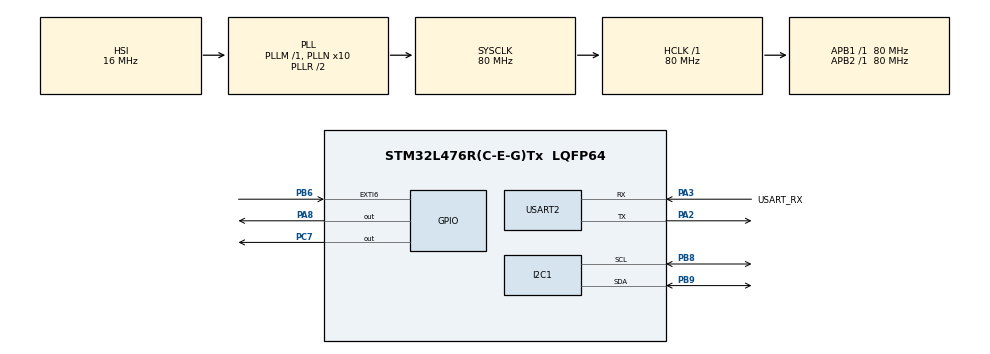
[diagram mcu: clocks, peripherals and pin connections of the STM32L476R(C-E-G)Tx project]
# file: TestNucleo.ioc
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I2C1.Timing=0x10D19CE4
Mcu.Family=STM32L4
Mcu.Name=STM32L476R(C-E-G)Tx
Mcu.Package=LQFP64
NVIC.EXTI9_5_IRQn=true\:0\:0\:false\:false\:true\:true\:true\:true
NVIC.PriorityGroup=NVIC_PRIORITYGROUP_4
PA13\ (JTMS-SWDIO).GPIO_Label=TMS
PA13\ (JTMS-SWDIO).Signal=SYS_JTMS-SWDIO
PA14\ (JTCK-SWCLK).GPIO_Label=TCK
PA14\ (JTCK-SWCLK).Signal=SYS_JTCK-SWCLK
PA2.Mode=Asynchronous
PA2.Signal=USART2_TX
PA3.GPIO_Label=USART_RX
PA3.GPIO_Mode=GPIO_MODE_AF_PP
PA3.GPIO_PuPd=GPIO_NOPULL
PA3.GPIO_Speed=GPIO_SPEED_FREQ_VERY_HIGH
PA3.Mode=Asynchronous
PA3.Signal=USART2_RX
PA8.Signal=GPIO_Output
PB3\ (JTDO-TRACESWO).GPIO_Label=SWO
PB3\ (JTDO-TRACESWO).Signal=SYS_JTDO-SWO
PB6.GPIO_ModeDefaultEXTI=GPIO_MODE_IT_RISING_FALLING
PB6.GPIO_PuPd=GPIO_PULLDOWN
PB6.Signal=GPXTI6
PB8.GPIO_Pu=GPIO_PULLUP
PB8.Mode=I2C
PB8.Signal=I2C1_SCL
PB9.GPIO_Pu=GPIO_PULLUP
PB9.Mode=I2C
PB9.Signal=I2C1_SDA
PC14-OSC32_IN\ (PC14).Signal=RCC_OSC32_IN
PC15-OSC32_OUT\ (PC15).Signal=RCC_OSC32_OUT
PC7.Signal=GPIO_Output
PH0-OSC_IN\ (PH0).Signal=RCC_OSC_IN
PH1-OSC_OUT\ (PH1).Signal=RCC_OSC_OUT
ProjectManager.HeapSize=0x200
ProjectManager.StackSize=0x400
ProjectManager.TargetToolchain=CMake
RCC.ADCFreq_Value=64000000
RCC.AHBFreq_Value=80000000
RCC.APB1Freq_Value=80000000
RCC.APB1TimFreq_Value=80000000
RCC.APB2Freq_Value=80000000
RCC.APB2TimFreq_Value=80000000
RCC.CortexFreq_Value=80000000
RCC.HCLKFreq_Value=80000000
RCC.HSE_VALUE=8000000
RCC.HSI_VALUE=16000000
RCC.LSE_VALUE=32768
RCC.MSI_VALUE=4000000
RCC.PLLN=10
RCC.PLLSourceVirtual=RCC_PLLSOURCE_HSI
RCC.PREFETCH_ENABLE=1
RCC.SYSCLKFreq_VALUE=80000000
RCC.SYSCLKSource=RCC_SYSCLKSOURCE_PLLCLK
RCC.USBFreq_Value=64000000
RCC.VCOOutputFreq_Value=160000000
USART2.VirtualMode-Asynchronous=VM_ASYNC
board=NUCLEO-L476RG

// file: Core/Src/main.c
/* USER CODE BEGIN Header */
/**
 ******************************************************************************
 * @file           : main.c
 * @brief          : Main program body
 ******************************************************************************
 * @attention
 *
 * Copyright (c) 2026 STMicroelectronics.
 * All rights reserved.
 *
 * This software is licensed under terms that can be found in the LICENSE file
 * in the root directory of this software component.
 * If no LICENSE file comes with this software, it is provided AS-IS.
 *
 ******************************************************************************
 */
/* USER CODE END Header */
#include "main.h"

/* USER CODE BEGIN Includes */
#include <stdio.h>
#include <string.h>
/* USER CODE END Includes */

I2C_HandleTypeDef hi2c1;

UART_HandleTypeDef huart2;

/* USER CODE BEGIN PV */
volatile GPIO_PinState state;
static const uint8_t BME280_ADDR = 0x76 << 1; // I2C address of BME280
static const uint8_t REG_TEMP = 0xFA;         // Register to temperatuer address

/* USER CODE END PV */

void SystemClock_Config(void);
static void MX_GPIO_Init(void);
static void MX_I2C1_Init(void);
static void MX_USART2_UART_Init(void);

int main(void)
{

  /* USER CODE BEGIN 1 */
  HAL_StatusTypeDef ret;
  int32_t val;
  float temp_c;

  uint8_t buf[20];

  /* USER CODE END 1 */

  /* MCU Configuration--------------------------------------------------------*/

  /* Reset of all peripherals, Initializes the Flash interface and the Systick. */
  HAL_Init();

  /* Configure the system clock */
  SystemClock_Config();

  /* Initialize all configured peripherals */
  MX_GPIO_Init();
  MX_I2C1_Init();
  MX_USART2_UART_Init();

  /* Infinite loop */
  while (1) {

    /* USER CODE BEGIN 3 */

    buf[0] = REG_TEMP;
    ret = HAL_I2C_Master_Transmit(&hi2c1, BME280_ADDR, buf, 1, 1000);
    if (ret != HAL_OK) {
      strcpy((char *)buf, "ERROR Tx\r\n");
    } else {
      ret = HAL_I2C_Master_Receive(&hi2c1, BME280_ADDR, buf, 3, 1000);
      if (ret != HAL_OK) {
        strcpy((char *)buf, "ERROR Rx\r\n");
      } else {
        val = ((int32_t)buf[0] << 12) | ((int32_t)buf[1] << 4) |
              ((int32_t)buf[2] >> 4);
        temp_c = val / .0625;
        temp_c *= 100;
        sprintf((char *)buf, "%u.%u C\r\n", ((unsigned int)temp_c / 100),
                ((unsigned int)temp_c % 100));
      }
    }

    HAL_UART_Transmit(&huart2, buf, strlen((char *)buf), HAL_MAX_DELAY);
    HAL_Delay(500);
  }
  /* USER CODE END 3 */
}

void SystemClock_Config(void)
{
  RCC_OscInitTypeDef RCC_OscInitStruct = {0};
  RCC_ClkInitTypeDef RCC_ClkInitStruct = {0};

  /** Configure the main internal regulator output voltage
  */
  if (HAL_PWREx_ControlVoltageScaling(PWR_REGULATOR_VOLTAGE_SCALE1) != HAL_OK)
  {
    Error_Handler();
  }

  /** Initializes the RCC Oscillators according to the specified parameters
  * in the RCC_OscInitTypeDef structure.
  */
  RCC_OscInitStruct.OscillatorType = RCC_OSCILLATORTYPE_HSI;
  RCC_OscInitStruct.HSIState = RCC_HSI_ON;
  RCC_OscInitStruct.HSICalibrationValue = RCC_HSICALIBRATION_DEFAULT;
  RCC_OscInitStruct.PLL.PLLState = RCC_PLL_ON;
  RCC_OscInitStruct.PLL.PLLSource = RCC_PLLSOURCE_HSI;
  RCC_OscInitStruct.PLL.PLLM = 1;
  RCC_OscInitStruct.PLL.PLLN = 10;
  RCC_OscInitStruct.PLL.PLLP = RCC_PLLP_DIV7;
  RCC_OscInitStruct.PLL.PLLQ = RCC_PLLQ_DIV2;
  RCC_OscInitStruct.PLL.PLLR = RCC_PLLR_DIV2;
  if (HAL_RCC_OscConfig(&RCC_OscInitStruct) != HAL_OK)
  {
    Error_Handler();
  }

  /** Initializes the CPU, AHB and APB buses clocks
  */
  RCC_ClkInitStruct.ClockType = RCC_CLOCKTYPE_HCLK|RCC_CLOCKTYPE_SYSCLK
                              |RCC_CLOCKTYPE_PCLK1|RCC_CLOCKTYPE_PCLK2;
  RCC_ClkInitStruct.SYSCLKSource = RCC_SYSCLKSOURCE_PLLCLK;
  RCC_ClkInitStruct.AHBCLKDivider = RCC_SYSCLK_DIV1;
  RCC_ClkInitStruct.APB1CLKDivider = RCC_HCLK_DIV1;
  RCC_ClkInitStruct.APB2CLKDivider = RCC_HCLK_DIV1;

  if (HAL_RCC_ClockConfig(&RCC_ClkInitStruct, FLASH_LATENCY_4) != HAL_OK)
  {
    Error_Handler();
  }
}

static void MX_I2C1_Init(void)
{

  hi2c1.Instance = I2C1;
  hi2c1.Init.Timing = 0x10D19CE4;
  hi2c1.Init.OwnAddress1 = 0;
  hi2c1.Init.AddressingMode = I2C_ADDRESSINGMODE_7BIT;
  hi2c1.Init.DualAddressMode = I2C_DUALADDRESS_DISABLE;
  hi2c1.Init.OwnAddress2 = 0;
  hi2c1.Init.OwnAddress2Masks = I2C_OA2_NOMASK;
  hi2c1.Init.GeneralCallMode = I2C_GENERALCALL_DISABLE;
  hi2c1.Init.NoStretchMode = I2C_NOSTRETCH_DISABLE;
  if (HAL_I2C_Init(&hi2c1) != HAL_OK)
  {
    Error_Handler();
  }

  /** Configure Analogue filter
  */
  if (HAL_I2CEx_ConfigAnalogFilter(&hi2c1, I2C_ANALOGFILTER_ENABLE) != HAL_OK)
  {
    Error_Handler();
  }

  /** Configure Digital filter
  */
  if (HAL_I2CEx_ConfigDigitalFilter(&hi2c1, 0) != HAL_OK)
  {
    Error_Handler();
  }

}

static void MX_USART2_UART_Init(void)
{

  huart2.Instance = USART2;
  huart2.Init.BaudRate = 115200;
  huart2.Init.WordLength = UART_WORDLENGTH_8B;
  huart2.Init.StopBits = UART_STOPBITS_1;
  huart2.Init.Parity = UART_PARITY_NONE;
  huart2.Init.Mode = UART_MODE_TX_RX;
  huart2.Init.HwFlowCtl = UART_HWCONTROL_NONE;
  huart2.Init.OverSampling = UART_OVERSAMPLING_16;
  huart2.Init.OneBitSampling = UART_ONE_BIT_SAMPLE_DISABLE;
  huart2.AdvancedInit.AdvFeatureInit = UART_ADVFEATURE_NO_INIT;
  if (HAL_UART_Init(&huart2) != HAL_OK)
  {
    Error_Handler();
  }

}

static void MX_GPIO_Init(void)
{
  GPIO_InitTypeDef GPIO_InitStruct = {0};

  /* GPIO Ports Clock Enable */
  __HAL_RCC_GPIOC_CLK_ENABLE();
  __HAL_RCC_GPIOH_CLK_ENABLE();
  __HAL_RCC_GPIOA_CLK_ENABLE();
  __HAL_RCC_GPIOB_CLK_ENABLE();

  /*Configure GPIO pin Output Level */
  HAL_GPIO_WritePin(GPIOC, GPIO_PIN_7, GPIO_PIN_RESET);

  /*Configure GPIO pin Output Level */
  HAL_GPIO_WritePin(GPIOA, GPIO_PIN_8, GPIO_PIN_RESET);

  /*Configure GPIO pin : PC7 */
  GPIO_InitStruct.Pin = GPIO_PIN_7;
  GPIO_InitStruct.Mode = GPIO_MODE_OUTPUT_PP;
  GPIO_InitStruct.Pull = GPIO_NOPULL;
  GPIO_InitStruct.Speed = GPIO_SPEED_FREQ_LOW;
  HAL_GPIO_Init(GPIOC, &GPIO_InitStruct);

  /*Configure GPIO pin : PA8 */
  GPIO_InitStruct.Pin = GPIO_PIN_8;
  GPIO_InitStruct.Mode = GPIO_MODE_OUTPUT_PP;
  GPIO_InitStruct.Pull = GPIO_NOPULL;
  GPIO_InitStruct.Speed = GPIO_SPEED_FREQ_LOW;
  HAL_GPIO_Init(GPIOA, &GPIO_InitStruct);

  /*Configure GPIO pin : PB6 */
  GPIO_InitStruct.Pin = GPIO_PIN_6;
  GPIO_InitStruct.Mode = GPIO_MODE_IT_RISING_FALLING;
  GPIO_InitStruct.Pull = GPIO_PULLDOWN;
  HAL_GPIO_Init(GPIOB, &GPIO_InitStruct);

  /* EXTI interrupt init*/
  HAL_NVIC_SetPriority(EXTI9_5_IRQn, 0, 0);
  HAL_NVIC_EnableIRQ(EXTI9_5_IRQn);

}

/* USER CODE BEGIN 4 */

void HAL_GPIO_EXTI_Callback(uint16_t GPIO_Pin) {
  /* Prevent unused argument(s) compilation warning */
  UNUSED(GPIO_Pin);

  if (GPIO_Pin == GPIO_PIN_6) {
    state = HAL_GPIO_ReadPin(GPIOB, GPIO_PIN_6);

    if (state == GPIO_PIN_SET) {
      HAL_GPIO_WritePin(GPIOA, GPIO_PIN_8, GPIO_PIN_RESET);
    } else {
      HAL_GPIO_WritePin(GPIOA, GPIO_PIN_8, GPIO_PIN_SET);
    }
  }

  // state = HAL_GPIO_ReadPin(GPIOC, GPIO_PIN_13);
}

/* USER CODE END 4 */

void Error_Handler(void)
{
  __disable_irq();
  while (1) {
  }
}
#ifdef USE_FULL_ASSERT
/**
  * @brief  Reports the name of the source file and the source line number
  *         where the assert_param error has occurred.
  * @param  file: pointer to the source file name
  * @param  line: assert_param error line source number
  * @retval None
  */
void assert_failed(uint8_t *file, uint32_t line)
{
  /* USER CODE BEGIN 6 */
  /* User can add his own implementation to report the file name and line
     number, ex: printf("Wrong parameters value: file %s on line %d\r\n", file,
     line) */
  /* USER CODE END 6 */
}
#endif /* USE_FULL_ASSERT */
